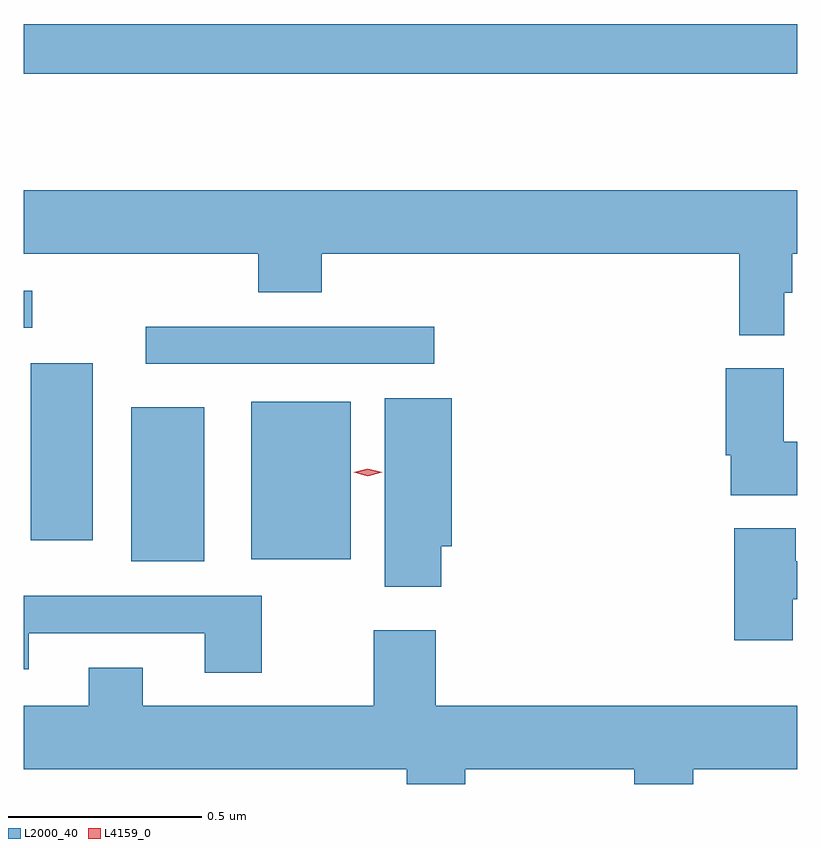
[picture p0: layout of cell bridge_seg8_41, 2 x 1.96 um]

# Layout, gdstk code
import gdstk
lib = gdstk.Library(unit=1e-6, precision=1e-09)
def R(c, l, rs):  # rectangles x0, y0, x1, y1
    for r in rs: c.add(gdstk.rectangle(r[:2], r[2:], *l))
def P(c, l, *ps):  # polygons
    for p in ps: c.add(gdstk.Polygon(p, *l))
L2000_40 = (2000, 40)
L4159_0 = (4159, 0)

bridge_seg8_41 = lib.new_cell('bridge_seg8_41')
R(bridge_seg8_41, L2000_40, [(1017.842,1159.661,1018.03,1160.059), (1018.151,1159.667,1018.408,1160.074), (1017.581,1159.716,1017.742,1160.173), (1017.879,1160.172,1018.624,1160.268), (1017.563,1160.265,1017.586,1160.361), (1017.563,1160.922,1019.563,1161.05)])
P(bridge_seg8_41, L2000_40, [(1019.529,1160.355),(1019.549,1160.355),(1019.549,1160.456),(1019.563,1160.456),(1019.563,1160.62),(1017.563,1160.62),(1017.563,1160.456),(1018.169,1160.456),(1018.169,1160.357),(1018.334,1160.357),(1018.334,1160.456),(1019.413,1160.456),(1019.413,1160.246),(1019.529,1160.246)],
  [(1019.563,1159.97),(1019.527,1159.97),(1019.527,1160.161),(1019.378,1160.161),(1019.378,1159.936),(1019.39,1159.936),(1019.39,1159.832),(1019.563,1159.832)],
  [(1018.643,1159.7),(1018.669,1159.7),(1018.669,1160.083),(1018.496,1160.083),(1018.496,1159.596),(1018.643,1159.596)],
  [(1019.551,1159.563),(1019.563,1159.563),(1019.563,1159.661),(1019.559,1159.661),(1019.559,1159.747),(1019.399,1159.747),(1019.399,1159.458),(1019.551,1159.458)],
  [(1018.179,1159.572),(1017.563,1159.572),(1017.563,1159.382),(1017.577,1159.382),(1017.577,1159.476),(1018.031,1159.476),(1018.031,1159.374),(1018.179,1159.374)],
  [(1017.731,1159.387),(1017.731,1159.288),(1017.563,1159.288),(1017.563,1159.124),(1018.553,1159.124),(1018.553,1159.086),(1018.705,1159.086),(1018.705,1159.124),(1019.141,1159.124),(1019.141,1159.086),(1019.294,1159.086),(1019.294,1159.124),(1019.563,1159.124),(1019.563,1159.288),(1018.628,1159.288),(1018.628,1159.483),(1018.468,1159.483),(1018.468,1159.288),(1017.871,1159.288),(1017.871,1159.387)])
P(bridge_seg8_41, L4159_0, [(1018.453,1159.881),(1018.416,1159.891),(1018.415,1159.891),(1018.416,1159.891),(1018.453,1159.901),(1018.49,1159.892),(1018.49,1159.891),(1018.49,1159.891)])

lib.write_gds('bridge_seg8_41.gds')
